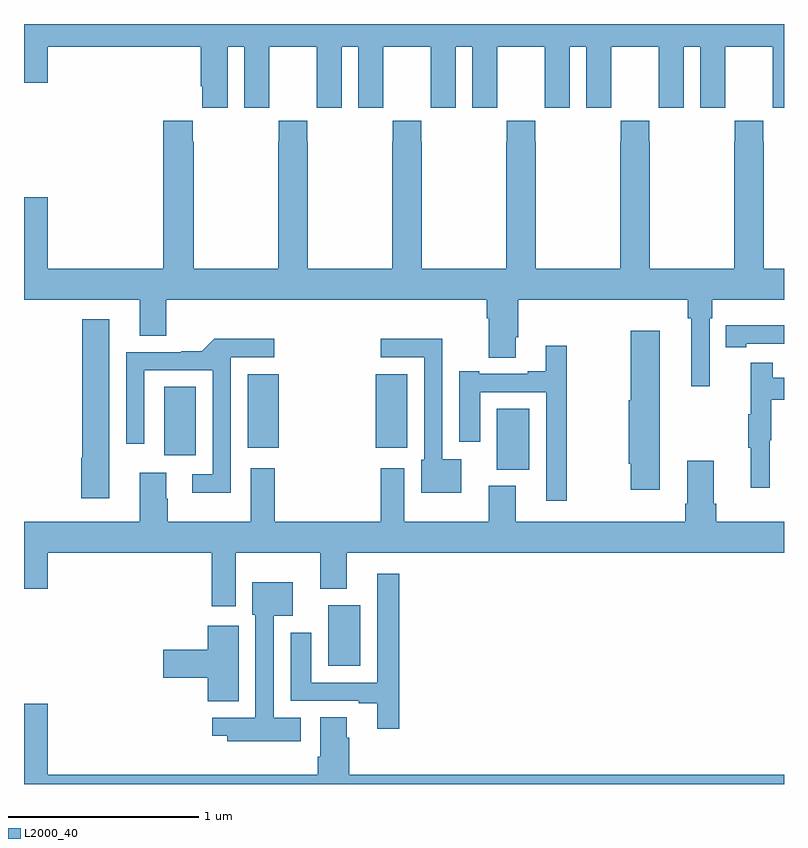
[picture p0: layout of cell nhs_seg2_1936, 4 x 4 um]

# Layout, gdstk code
import gdstk
lib = gdstk.Library(unit=1e-6, precision=1e-09)
def R(c, l, rs):  # rectangles x0, y0, x1, y1
    for r in rs: c.add(gdstk.rectangle(r[:2], r[2:], *l))
def P(c, l, *ps):  # polygons
    for p in ps: c.add(gdstk.Polygon(p, *l))
L2000_40 = (2000, 40)

nhs_seg2_1936 = lib.new_cell('nhs_seg2_1936')
R(nhs_seg2_1936, L2000_40, [(214.601,600.422,214.771,600.742), (215.489,601.454,215.659,601.774), (213.737,601.53,213.904,601.892), (214.178,601.571,214.342,601.957), (214.85,601.571,215.017,601.957)])
P(nhs_seg2_1936, L2000_40, [(214.072,603.68),(214.16,603.68),(214.16,603.36),(214.29,603.36),(214.29,603.472),(214.291,603.472),(214.291,603.68),(214.541,603.68),(214.541,603.472),(214.542,603.472),(214.542,603.36),(214.672,603.36),(214.672,603.68),(214.76,603.68),(214.76,603.36),(214.89,603.36),(214.89,603.472),(214.891,603.472),(214.891,603.68),(215.141,603.68),(215.141,603.472),(215.142,603.472),(215.142,603.36),(215.272,603.36),(215.272,603.68),(215.36,603.68),(215.36,603.36),(215.49,603.36),(215.49,603.472),(215.491,603.472),(215.491,603.68),(215.741,603.68),(215.741,603.472),(215.742,603.472),(215.742,603.36),(215.872,603.36),(215.872,603.68),(215.96,603.68),(215.96,603.36),(216.09,603.36),(216.09,603.472),(216.091,603.472),(216.091,603.68),(216.341,603.68),(216.341,603.472),(216.342,603.472),(216.342,603.36),(216.472,603.36),(216.472,603.68),(216.56,603.68),(216.56,603.36),(216.69,603.36),(216.69,603.472),(216.691,603.472),(216.691,603.68),(216.941,603.68),(216.941,603.472),(216.942,603.472),(216.942,603.36),(217,603.36),(217,603.8),(213,603.8),(213,603.492),(213.124,603.492),(213.124,603.68),(213.929,603.68),(213.929,603.472),(213.938,603.472),(213.938,603.36),(214.072,603.36)],
  [(216.609,602.252),(216.623,602.252),(216.623,602.348),(217,602.348),(217,602.512),(216.894,602.512),(216.894,603.179),(216.891,603.179),(216.891,603.292),(216.741,603.292),(216.741,603.179),(216.739,603.179),(216.739,602.512),(216.294,602.512),(216.294,603.179),(216.291,603.179),(216.291,603.292),(216.141,603.292),(216.141,603.179),(216.139,603.179),(216.139,602.512),(215.694,602.512),(215.694,603.179),(215.691,603.179),(215.691,603.292),(215.541,603.292),(215.541,603.179),(215.539,603.179),(215.539,602.512),(215.094,602.512),(215.094,603.179),(215.091,603.179),(215.091,603.292),(214.941,603.292),(214.941,603.179),(214.939,603.179),(214.939,602.512),(214.494,602.512),(214.494,603.179),(214.491,603.179),(214.491,603.292),(214.341,603.292),(214.341,603.179),(214.339,603.179),(214.339,602.512),(213.894,602.512),(213.894,603.179),(213.887,603.179),(213.887,603.292),(213.734,603.292),(213.734,602.512),(213.124,602.512),(213.124,602.887),(213,602.887),(213,602.348),(213.608,602.348),(213.608,602.158),(213.748,602.158),(213.748,602.348),(215.435,602.348),(215.435,602.252),(215.447,602.252),(215.447,602.044),(215.587,602.044),(215.587,602.152),(215.6,602.152),(215.6,602.348),(216.493,602.348),(216.493,602.252),(216.512,602.252),(216.512,601.893),(216.609,601.893)],
  [(213.448,602.245),(213.307,602.245),(213.307,601.517),(213.302,601.517),(213.302,601.305),(213.448,601.305)],
  [(216.802,602.118),(217,602.118),(217,602.215),(216.802,602.215),(216.802,602.214),(216.694,602.214),(216.694,602.098),(216.802,602.098)],
  [(216.346,602.185),(216.193,602.185),(216.193,601.821),(216.182,601.821),(216.182,601.485),(216.193,601.485),(216.193,601.35),(216.346,601.35)],
  [(214.089,602.046),(214.318,602.046),(214.318,602.144),(214.001,602.144),(213.935,602.078),(213.827,602.078),(213.827,602.073),(213.537,602.073),(213.537,601.59),(213.633,601.59),(213.633,601.977),(213.993,601.977),(213.993,601.431),(213.885,601.431),(213.885,601.334),(214.089,601.334)],
  [(215.302,601.51),(215.202,601.51),(215.202,602.144),(214.878,602.144),(214.878,602.046),(215.106,602.046),(215.106,601.506),(215.09,601.506),(215.09,601.334),(215.302,601.334)],
  [(215.857,602.107),(215.747,602.107),(215.747,601.972),(215.651,601.972),(215.651,601.959),(215.395,601.959),(215.395,601.972),(215.291,601.972),(215.291,601.602),(215.401,601.602),(215.401,601.863),(215.748,601.863),(215.748,601.29),(215.857,601.29)],
  [(216.926,601.608),(216.934,601.608),(216.934,601.822),(217,601.822),(217,601.938),(216.941,601.938),(216.941,602.017),(216.824,602.017),(216.824,601.745),(216.813,601.745),(216.813,601.571),(216.824,601.571),(216.824,601.359),(216.926,601.359)],
  [(214.114,601.016),(214.559,601.016),(214.559,600.827),(214.699,600.827),(214.699,601.016),(217,601.016),(217,601.18),(216.644,601.18),(216.644,601.276),(216.631,601.276),(216.631,601.501),(216.491,601.501),(216.491,601.276),(216.479,601.276),(216.479,601.18),(215.587,601.18),(215.587,601.369),(215.447,601.369),(215.447,601.18),(215.002,601.18),(215.002,601.462),(214.877,601.462),(214.877,601.18),(214.319,601.18),(214.319,601.462),(214.193,601.462),(214.193,601.18),(213.756,601.18),(213.756,601.301),(213.748,601.301),(213.748,601.438),(213.608,601.438),(213.608,601.18),(213,601.18),(213,600.828),(213.124,600.828),(213.124,601.016),(213.989,601.016),(213.989,600.735),(214.114,600.735)],
  [(214.976,600.907),(214.86,600.907),(214.86,600.333),(214.513,600.333),(214.513,600.595),(214.403,600.595),(214.403,600.237),(214.763,600.237),(214.763,600.225),(214.859,600.225),(214.859,600.09),(214.976,600.09)],
  [(214.456,600.148),(214.314,600.148),(214.314,600.686),(214.414,600.686),(214.414,600.862),(214.202,600.862),(214.202,600.69),(214.218,600.69),(214.218,600.15),(213.99,600.15),(213.99,600.053),(214.071,600.053),(214.071,600.026),(214.456,600.026)],
  [(214.129,600.634),(213.968,600.634),(213.968,600.506),(213.732,600.506),(213.732,600.359),(213.968,600.359),(213.968,600.235),(214.129,600.235)],
  [(217,599.848),(214.712,599.848),(214.712,600.044),(214.699,600.044),(214.699,600.152),(214.559,600.152),(214.559,599.944),(214.547,599.944),(214.547,599.848),(213.124,599.848),(213.124,600.223),(213,600.223),(213,599.8),(217,599.8)])

lib.write_gds('nhs_seg2_1936.gds')
